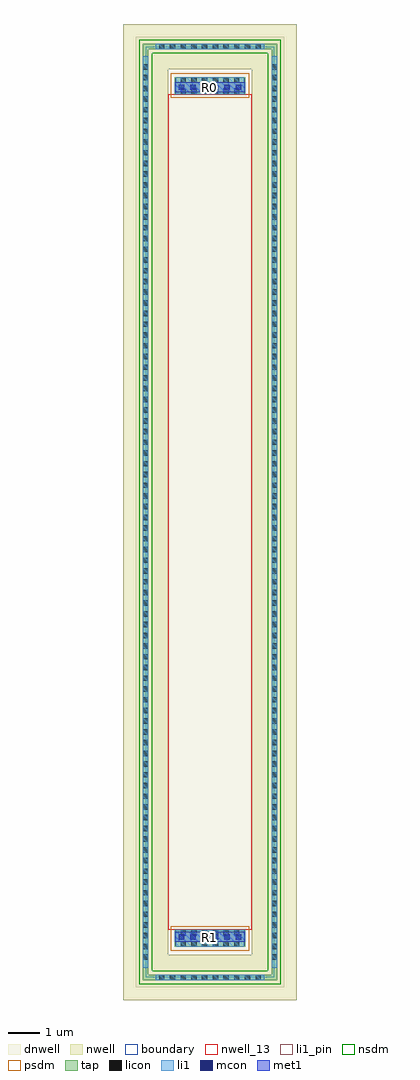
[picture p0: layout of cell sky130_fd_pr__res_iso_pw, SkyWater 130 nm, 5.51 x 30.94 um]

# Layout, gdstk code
import gdstk
lib = gdstk.Library(unit=1e-6, precision=1e-09)
def R(c, l, rs):  # rectangles x0, y0, x1, y1
    for r in rs: c.add(gdstk.rectangle(r[:2], r[2:], *l))
def A(c, l, x, y, w, h, nx, ny, dx, dy):  # array of equal rectangles
    R(c, l, [(x+i*dx, y+j*dy, x+i*dx+w, y+j*dy+h) for i in range(nx) for j in range(ny)])
nwell_13 = (64, 13)
dnwell = (64, 18)
nwell = (64, 20)
tap = (65, 44)
licon = (66, 44)
li1_pin = (67, 16)
li1 = (67, 20)
mcon = (67, 44)
met1 = (68, 20)
nsdm = (93, 44)
psdm = (94, 20)
boundary = (235, 4)

sky130_fd_pr__res_iso_pw = lib.new_cell('sky130_fd_pr__res_iso_pw')
R(sky130_fd_pr__res_iso_pw, nwell_13, [(0.715,1.505,3.365,28.005)])
R(sky130_fd_pr__res_iso_pw, dnwell, [(-0.315,-0.315,4.395,29.825)])
R(sky130_fd_pr__res_iso_pw, nwell, [(-0.715,-0.715,4.795,0.715), (-0.715,0.715,0.715,28.795), (3.365,0.715,4.795,28.795), (-0.715,28.795,4.795,30.225)])
R(sky130_fd_pr__res_iso_pw, tap, [(-0.085,-0.085,4.165,0.085), (-0.085,0.085,0.085,29.425), (3.995,0.085,4.165,29.425), (0.915,0.975,3.165,1.505), (0.915,28.005,3.165,28.535), (-0.085,29.425,4.165,29.595)])
A(sky130_fd_pr__res_iso_pw, licon, 0.425, -0.085, 0.17, 0.17, 10, 2, 0.34, 29.51)
A(sky130_fd_pr__res_iso_pw, licon, -0.085, 0.56, 0.17, 0.17, 1, 84, 0, 0.34)
A(sky130_fd_pr__res_iso_pw, licon, 3.995, 0.56, 0.17, 0.17, 1, 84, 0, 0.34)
A(sky130_fd_pr__res_iso_pw, licon, 1.105, 0.985, 0.17, 0.17, 6, 2, 0.34, 0.34)
A(sky130_fd_pr__res_iso_pw, licon, 1.105, 28.015, 0.17, 0.17, 6, 2, 0.34, 0.34)
R(sky130_fd_pr__res_iso_pw, li1_pin, [(1.995,1.236,2.096,1.351), (1.994,28.174,2.095,28.289)])
R(sky130_fd_pr__res_iso_pw, li1, [(0.315,-0.085,3.765,0.085), (-0.085,0.315,0.085,29.195), (3.995,0.315,4.165,29.195), (0.955,0.975,3.125,1.505), (0.955,28.005,3.125,28.535), (0.315,29.425,3.765,29.595)])
A(sky130_fd_pr__res_iso_pw, mcon, 1.055, 1.2, 0.17, 0.17, 6, 2, 0.36, 26.935)
R(sky130_fd_pr__res_iso_pw, met1, [(0.915,1.125,3.165,1.45), (0.915,28.06,3.165,28.385)])
R(sky130_fd_pr__res_iso_pw, nsdm, [(-0.21,-0.21,4.29,0.21), (-0.21,0.21,0.21,29.3), (3.87,0.21,4.29,29.3), (-0.21,29.3,4.29,29.72)])
R(sky130_fd_pr__res_iso_pw, psdm, [(0.79,0.85,3.29,1.63), (0.79,27.88,3.29,28.66)])
R(sky130_fd_pr__res_iso_pw, boundary, [(0,0,4.08,29.51)])
sky130_fd_pr__res_iso_pw.add(gdstk.Label('R0', (2.035,28.22), layer=67, texttype=5))
sky130_fd_pr__res_iso_pw.add(gdstk.Label('R1', (2.036,1.282), layer=67, texttype=5))

lib.write_gds('sky130_fd_pr__res_iso_pw.gds')
